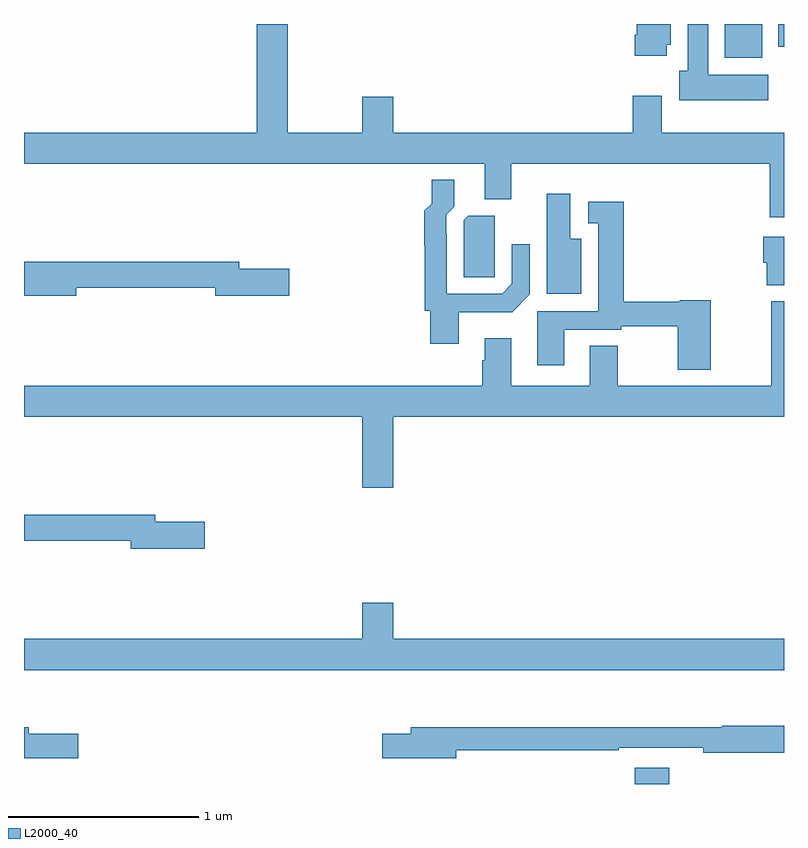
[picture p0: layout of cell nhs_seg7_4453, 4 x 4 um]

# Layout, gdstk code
import gdstk
lib = gdstk.Library(unit=1e-6, precision=1e-09)
def R(c, l, rs):  # rectangles x0, y0, x1, y1
    for r in rs: c.add(gdstk.rectangle(r[:2], r[2:], *l))
def P(c, l, *ps):  # polygons
    for p in ps: c.add(gdstk.Polygon(p, *l))
L2000_40 = (2000, 40)

nhs_seg7_4453 = lib.new_cell('nhs_seg7_4453')
R(nhs_seg7_4453, L2000_40, [(394.214,1016,394.397,1016.086), (394.688,1019.822,394.885,1020), (394.97,1019.881,395,1020)])
P(nhs_seg7_4453, L2000_40, [(394.384,1019.892),(394.405,1019.892),(394.405,1020),(394.226,1020),(394.226,1019.944),(394.214,1019.944),(394.214,1019.832),(394.384,1019.832)],
  [(395,1019.428),(394.357,1019.428),(394.357,1019.623),(394.205,1019.623),(394.205,1019.428),(392.944,1019.428),(392.944,1019.617),(392.78,1019.617),(392.78,1019.428),(392.389,1019.428),(392.389,1020),(392.225,1020),(392.225,1019.428),(391,1019.428),(391,1019.264),(393.425,1019.264),(393.425,1019.077),(393.565,1019.077),(393.565,1019.264),(394.926,1019.264),(394.926,1018.983),(395,1018.983)],
  [(394.918,1019.734),(394.6,1019.734),(394.6,1020),(394.493,1020),(394.493,1019.754),(394.448,1019.754),(394.448,1019.6),(394.918,1019.6)],
  [(393.289,1018.484),(393.569,1018.484),(393.663,1018.578),(393.663,1018.84),(393.567,1018.84),(393.567,1018.632),(393.516,1018.581),(393.225,1018.581),(393.225,1018.895),(393.222,1018.895),(393.222,1018.995),(393.265,1019.038),(393.265,1019.179),(393.145,1019.179),(393.145,1019.055),(393.107,1019.016),(393.107,1018.834),(393.109,1018.834),(393.109,1018.491),(393.137,1018.491),(393.137,1018.317),(393.289,1018.317)],
  [(393.934,1018.87),(393.874,1018.87),(393.874,1019.107),(393.752,1019.107),(393.752,1018.58),(393.934,1018.58)],
  [(394.614,1018.546),(394.452,1018.546),(394.452,1018.538),(394.157,1018.538),(394.157,1019.065),(393.969,1019.065),(393.969,1018.952),(394.022,1018.952),(394.022,1018.488),(393.701,1018.488),(393.701,1018.203),(393.844,1018.203),(393.844,1018.392),(394.144,1018.392),(394.144,1018.41),(394.441,1018.41),(394.441,1018.181),(394.614,1018.181)],
  [(393.477,1018.777),(393.478,1018.777),(393.478,1018.992),(393.339,1018.992),(393.315,1018.968),(393.315,1018.666),(393.477,1018.666)],
  [(395,1018.879),(394.892,1018.879),(394.892,1018.743),(394.91,1018.743),(394.91,1018.625),(395,1018.625)],
  [(391.276,1018.612),(392.006,1018.612),(392.006,1018.57),(392.395,1018.57),(392.395,1018.712),(392.134,1018.712),(392.134,1018.748),(391,1018.748),(391,1018.57),(391.276,1018.57)],
  [(392.944,1017.932),(395,1017.932),(395,1018.54),(394.933,1018.54),(394.933,1018.096),(394.125,1018.096),(394.125,1018.307),(393.977,1018.307),(393.977,1018.096),(393.565,1018.096),(393.565,1018.345),(393.425,1018.345),(393.425,1018.229),(393.413,1018.229),(393.413,1018.096),(391,1018.096),(391,1017.932),(392.78,1017.932),(392.78,1017.558),(392.944,1017.558)],
  [(391.951,1017.38),(391.69,1017.38),(391.69,1017.416),(391,1017.416),(391,1017.28),(391.562,1017.28),(391.562,1017.238),(391.951,1017.238)],
  [(395,1016.764),(392.944,1016.764),(392.944,1016.953),(392.78,1016.953),(392.78,1016.764),(391,1016.764),(391,1016.6),(395,1016.6)],
  [(393.274,1016.178),(394.13,1016.178),(394.13,1016.19),(394.574,1016.19),(394.574,1016.165),(395,1016.165),(395,1016.307),(394.674,1016.307),(394.674,1016.299),(393.035,1016.299),(393.035,1016.265),(392.886,1016.265),(392.886,1016.135),(393.274,1016.135)],
  [(391.285,1016.265),(391.024,1016.265),(391.024,1016.299),(391,1016.299),(391,1016.135),(391.285,1016.135)])

lib.write_gds('nhs_seg7_4453.gds')
